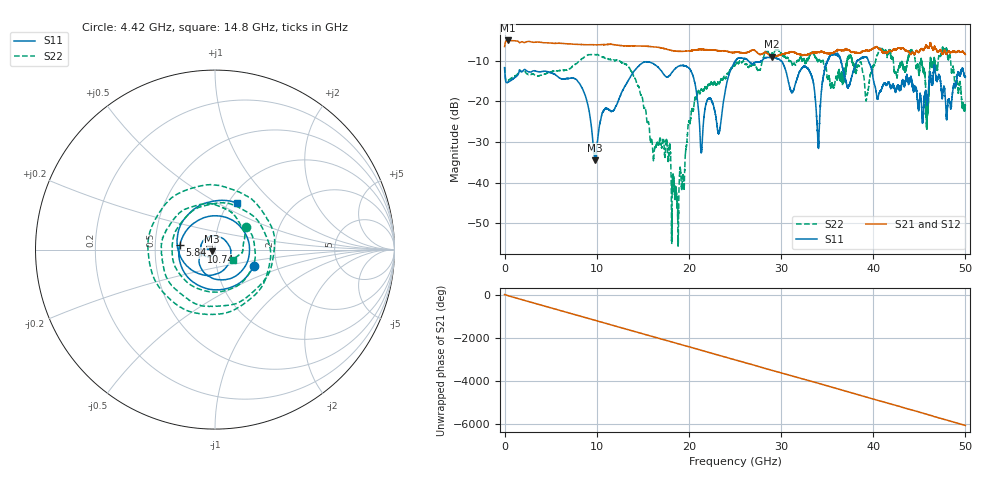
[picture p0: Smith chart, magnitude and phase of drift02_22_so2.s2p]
!Created with skrf (http://scikit-rf.org).
# Hz S RI R 50.0
!freq ReS11 ImS11 ReS21 ImS21 ReS12 ImS12 ReS22 ImS22
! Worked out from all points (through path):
!   10001 points, 300 kHz to 50 GHz, reference 50 ohm
!   highest |S21| = -5.04 dB at 325.3 MHz (marker M1); lowest = -9.0 dB at 29.05 GHz (marker M2)
!   group delay of S21, straight-line fit = 336 ps
!   lowest |S11| = -34.5 dB at 9.815 GHz (marker M3), VSWR 1.04, Z = 48.4 - j0.89 ohm
!   |S11| at or under -10 dB: start of sweep to 25.06 GHz; 30.01 GHz to 35.05 GHz (5.047 GHz wide, 15.5 % of centre); 39.47 GHz to end of sweep (the widest 3 of 7)
!   |S22| runs from -55.6 to -6.7 dB; largest |S21 - S12| = 0.021
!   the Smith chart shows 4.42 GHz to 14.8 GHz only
!   S11 on the Smith chart (normalised r, x): 4.42 GHz: 1.51, -0.30; 5.84 GHz: 0.67, +0.04; 10.74 GHz: 0.86, -0.02; 14.8 GHz: 1.10, +0.62
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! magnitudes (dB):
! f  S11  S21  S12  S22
! 300 kHz  -11.7  -6.5  -6.4  -11.6
! 325.3 MHz  -15.4  -5.0  -5.0  -15.0
! 4.42 GHz  -12.6  -5.6  -5.6  -13.3
! 5.84 GHz  -14.1  -5.7  -5.7  -12.5
! 8.335 GHz  -16.4  -6.0  -6.0  -9.6
! 9.815 GHz  -34.5  -6.1  -6.1  -8.5
! 10.74 GHz  -22.4  -6.1  -6.1  -9.2
! 14.8 GHz  -10.8  -6.4  -6.4  -18.5
! 16.67 GHz  -11.6  -6.7  -6.7  -30.6
! 18.68 GHz  -11.7  -7.7  -7.7  -44.9
! 20.37 GHz  -13.3  -7.5  -7.5  -22.0
! 21.37 GHz  -32.5  -7.2  -7.3  -17.0
! 23.31 GHz  -27.5  -7.6  -7.6  -15.6
! 25 GHz  -10.3  -8.0  -8.0  -11.1
! 29.05 GHz  -9.1  -9.0  -9.0  -8.2
! 33.34 GHz  -14.0  -8.1  -8.2  -8.0
! 34.02 GHz  -30.9  -7.9  -7.9  -10.1
! 35.52 GHz  -8.4  -8.3  -8.1  -15.6
! 41.67 GHz  -15.4  -7.7  -7.8  -7.4
! 45.85 GHz  -20.8  -6.7  -6.8  -21.4
! 47.76 GHz  -17.3  -7.6  -7.5  -7.3
! 50 GHz  -14.0  -8.5  -8.4  -21.1
